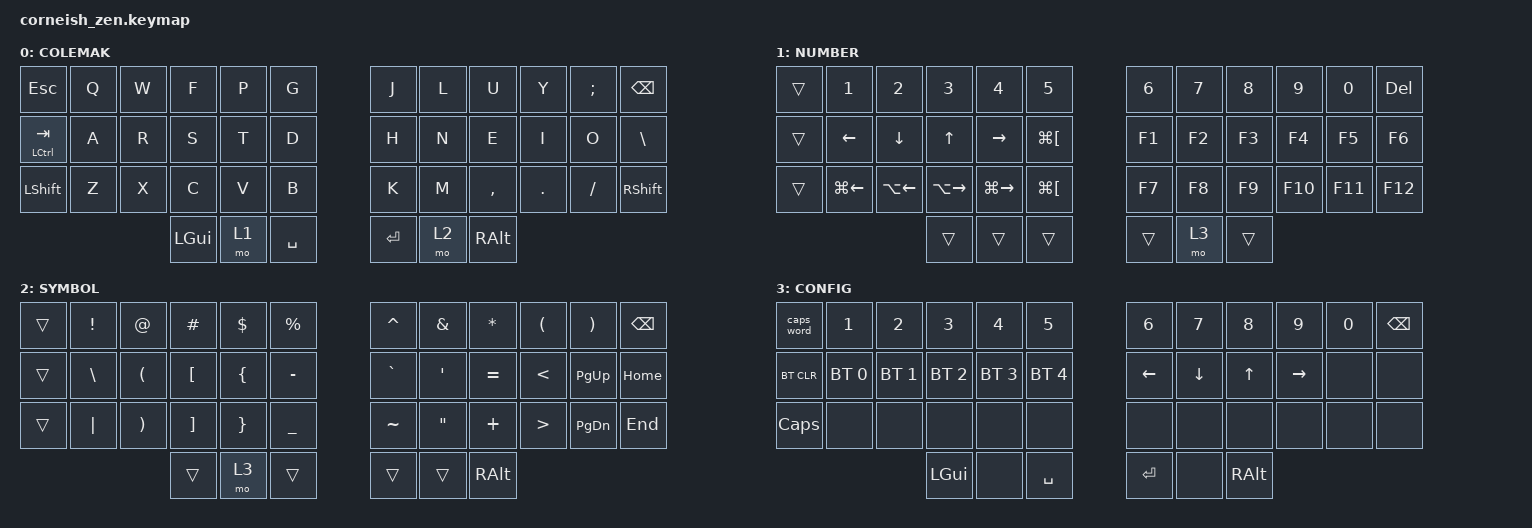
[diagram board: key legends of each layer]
/*
*
* Copyright (c) 2021 Darryl deHaan
* SPDX-License-Identifier: MIT
*
*/

#include <behaviors.dtsi>
#include <dt-bindings/zmk/keys.h>
#include <dt-bindings/zmk/bt.h>

/ {
  chosen {
    zmk,matrix_transform = &default_transform;
    //zmk,matrix_transform = &five_column_transform;
  };
};

&mt {
    tapping-term-ms = <250>;
};

/ {
        keymap {
                compatible = "zmk,keymap";

                default_layer {
                        label = "COLEMAK";
// -----------------------------------------------------------------------------------------
// |    ESC   |  Q  |  W  |  F  |  P  |  G  |   |  J  |  L   |  U  |  Y  |  ;  | BKSP |
// | CTRL/TAB |  A  |  R  |  S  |  T  |  D  |   |  H  |  N   |  E  |  I  |  O  |  \   |
// |   SHFT   |  Z  |  X  |  C  |  V  |  B  |   |  K  |  M   |  ,  |  .  |  /  | SHFT |
//                        | GUI | LWR | SPC |   | ENT | RSE  | ALT |
                        bindings = <
   &kp ESC       &kp Q &kp W &kp F &kp P &kp G   &kp J &kp L  &kp U     &kp Y   &kp SEMI &kp BSPC
   &mt LCTRL TAB &kp A &kp R &kp S &kp T &kp D   &kp H &kp N  &kp E     &kp I   &kp O    &kp BSLH
   &kp LSHFT     &kp Z &kp X &kp C &kp V &kp B   &kp K &kp M  &kp COMMA &kp DOT &kp FSLH &kp RSHFT
                      &kp LGUI &mo 1 &kp SPACE   &kp RET &mo 2 &kp RALT
                        >;
                };
                lower_layer {
                        label = "NUMBER";
// -----------------------------------------------------------------------------------------
// |    |    1    |    2    |    3    |    4    |   5   |   |  6  |  7  |  8  |  9  |  0  | DEL |
// |    |   LFT   |   DWN   |   UP    |   RGT   | GUI+[ |   | F1  | F2  |  F3 | F4  | F5  | F6  |
// |    | GUI+LFT | ALT+LFT | ALT+RGT | GUI+RGT | GUI+] |   | F7  | F8  |  F9 | F10 | F11 | F12 |
//                          |         |         |       |   |     | CNF |     |
                        bindings = <
   &trans  &kp N1        &kp N2        &kp N3         &kp N4         &kp N5          &kp N6  &kp N7  &kp N8  &kp N9   &kp N0   &kp DEL
   &trans  &kp LEFT      &kp DOWN      &kp UP         &kp RIGHT      &kp LG(LBKT)    &kp F1  &kp F2  &kp F3  &kp F4   &kp F5   &kp F6
   &trans  &kp LG(LEFT)  &kp LA(LEFT)  &kp LA(RIGHT)  &kp LG(RIGHT)  &kp LG(LBKT)    &kp F7  &kp F8  &kp F9  &kp F10  &kp F11  &kp F12
                               &trans  &trans     &trans         &trans  &mo 3   &trans
                        >;
                };

                raise_layer {
                        label = "SYMBOL";
// -----------------------------------------------------------------------------------------
// |   |  !  |  @  |  #  |  $  |  %  |   |  ^  |  &  |  *  |  (  |   )   | BKSP |
// |   |  \  |  (  |  [  |  {  |  -  |   |  `  |  '  |  =  |  <  |  PUP  | HOME |
// |   | "|" |  )  |  ]  |  }  |  _  |   |  ~  |  "  |  +  |  >  | PDOWN |  END |
//                 |     | NO  |     |   |     |     |     |
                        bindings = <
   &trans  &kp EXCL  &kp AT    &kp HASH  &kp DLLR  &kp PRCNT    &kp CARET  &kp AMPS  &kp STAR   &kp LPAR  &kp RPAR   &kp BSPC
   &trans  &kp BSLH  &kp LPAR  &kp LBKT  &kp LBRC  &kp MINUS    &kp GRAVE  &kp SQT   &kp EQUAL  &kp LT    &kp PG_UP  &kp HOME
   &trans  &kp PIPE  &kp RPAR  &kp RBKT  &kp RBRC  &kp UNDER    &kp TILDE  &kp DQT   &kp PLUS   &kp GT    &kp PG_DN  &kp END
                    	             &trans  &mo 3    &trans    &trans     &trans    &kp RALT
                        >;
                };
                config_layer {
                        label = "CONFIG";
// -----------------------------------------------------------------------------------------
// |  TAB |  1  |  2  |  3  |  4  |  5  |   |  6  |  7  |  8  |  9  |  0  | BKSP |
// | BTCLR| BT1 | BT2 | BT3 | BT4 | BT5 |   | LFT | DWN |  UP | RGT |     |      |
// | SHFT |     |     |     |     |     |   |     |     |     |     |     |      |
//                    | GUI |     | SPC |   | ENT |     | ALT |
                        bindings = <
   &caps_word  &kp N1        &kp N2        &kp N3        &kp N4        &kp N5          &kp N6   &kp N7   &kp N8 &kp N9    &kp N0 &kp BSPC
   &bt BT_CLR  &bt BT_SEL 0  &bt BT_SEL 1  &bt BT_SEL 2  &bt BT_SEL 3  &bt BT_SEL 4    &kp LEFT &kp DOWN &kp UP &kp RIGHT &none &none
   &kp CAPS    &none         &none         &none         &none         &none           &none   &none   &none &none    &none &none
                          	        &kp LGUI     &none       &kp SPACE      &kp RET  &none   &kp RALT
                        >;
                };
        };
};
